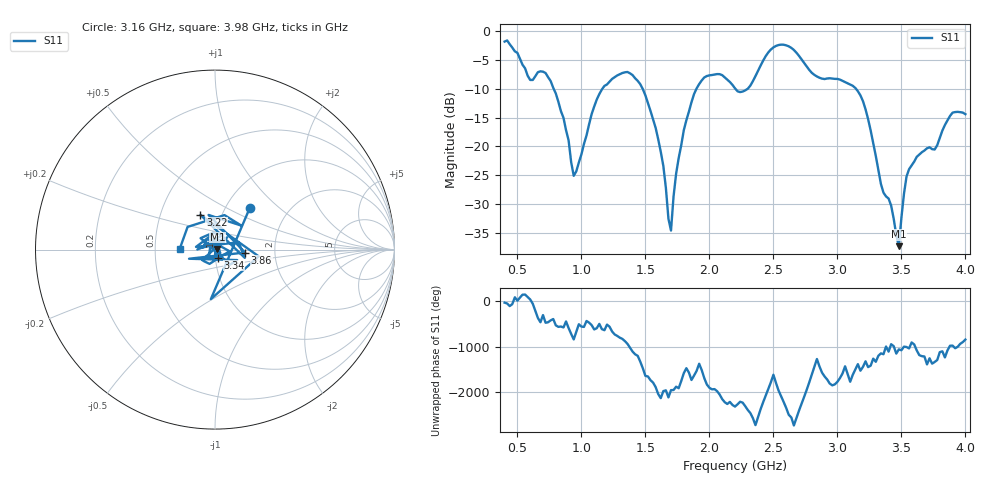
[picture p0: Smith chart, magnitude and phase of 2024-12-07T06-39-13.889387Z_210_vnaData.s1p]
!Created with skrf (http://scikit-rf.org).
# Hz S RI R 50.0
!freq ReS11 ImS11
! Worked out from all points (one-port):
!   181 points, 400 MHz to 4 GHz, reference 50 ohm
!   lowest |S11| = -37.3 dB at 3.48 GHz (marker M1), VSWR 1.03, Z = 51.3 + j0.403 ohm
!   |S11| at or under -10 dB: 783.3 MHz to 1.164 GHz (380.5 MHz wide, 39.1 % of centre); 1.479 GHz to 1.899 GHz (420.2 MHz wide, 24.9 % of centre); 3.145 GHz to end of sweep (the widest 3 of 4)
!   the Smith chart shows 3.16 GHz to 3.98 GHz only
!   S11 on the Smith chart (normalised r, x): 3.16 GHz: 1.29, +0.66; 3.22 GHz: 0.79, +0.32; 3.34 GHz: 1.03, -0.09; 3.86 GHz: 1.40, -0.05; 3.98 GHz: 0.67, +0.01
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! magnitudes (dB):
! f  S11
! 400 MHz  -1.8
! 600 MHz  -8.5
! 720 MHz  -7.3
! 860 MHz  -15.0
! 940 MHz  -25.1
! 1.12 GHz  -11.9
! 1.3 GHz  -7.5
! 1.52 GHz  -12.5
! 1.64 GHz  -23.4
! 1.7 GHz  -34.6
! 1.76 GHz  -22.0
! 1.94 GHz  -8.6
! 2.2 GHz  -9.9
! 2.3 GHz  -10.0
! 2.5 GHz  -2.8
! 2.66 GHz  -3.3
! 3.1 GHz  -9.3
! 3.16 GHz  -10.4
! 3.22 GHz  -13.6
! 3.34 GHz  -26.5
! 3.42 GHz  -30.3
! 3.48 GHz  -37.3
! 3.52 GHz  -28.3
! 3.56 GHz  -24.0
! 3.76 GHz  -20.5
! 3.86 GHz  -15.5
! 3.98 GHz  -14.1
! 4 GHz  -14.4
